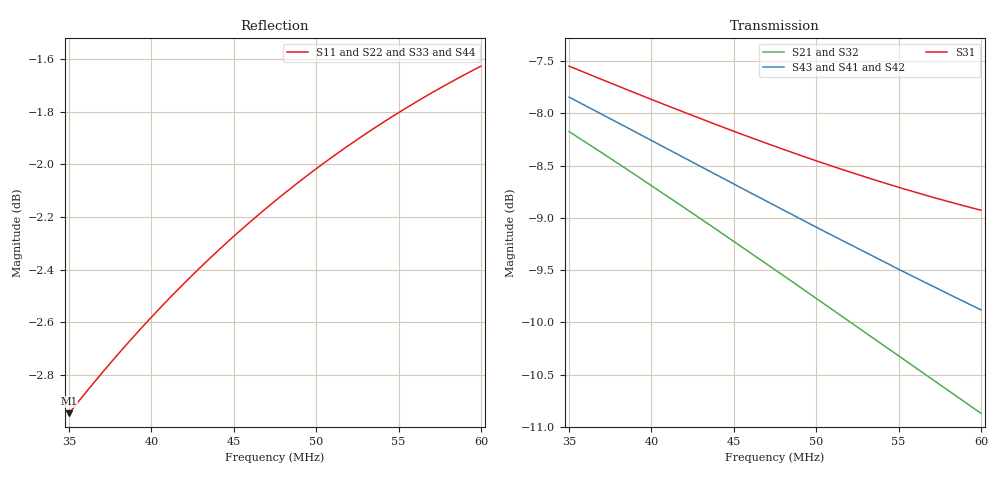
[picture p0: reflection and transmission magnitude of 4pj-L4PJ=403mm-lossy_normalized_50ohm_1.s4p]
! TOUCHSTONE file generated by CST MICROWAVE STUDIO
! Date and time: Mon Jan 20 14:13:50 2020
! Project name: 4pj-L4PJ=403mm-lossy.cst
! Parameters = {rblend_outter_port=40; H_4PJ=915; H_VCW=515; H_septa=30; L_4PJ=355.63; L_4PJ_MV=405.26; L_4PJ_port=317.5; L_fdr=200; L_front_gap=32.13; L_rear_gap=17.5; R_4PJ=117.5; R_body=25; W_4PJ=315; W_VCW=315; W_gap=25; rblend_outer1=15; xH_fdr_outer=285; xR_VCW_inner=132.5; xR_fdr_inner=125; x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
! Header version: 2018
! Port assignment regex: !\s*Touchstone port\s*([0-9]+)\s*=\s*(CST MWS port|CST DS port)\s*([0-9]+|Zmin|Zmax)\s*\(\"(.*)\"\)(\s*mode\s*([0-9]+))?.*
! Touchstone port assignment:
! Touchstone port 1 = CST MWS port 1 ("")
! Touchstone port 2 = CST MWS port 2 ("")
! Touchstone port 3 = CST MWS port 3 ("")
! Touchstone port 4 = CST MWS port 4 ("")
# MHz S MA R 50
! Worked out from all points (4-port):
!   1001 points, 35 MHz to 60 MHz, reference 50 ohm
!   strongest paths, dB at 35 MHz, 41.25 MHz, 47.5 MHz, 53.75 MHz, 60 MHz:
!     S31: -7.5, -7.9, -8.3, -8.6, -8.9
!     S43: -7.8, -8.4, -8.9, -9.4, -9.9
!     S41: -7.8, -8.4, -8.9, -9.4, -9.9
!     S42: -7.9, -8.5, -9.0, -9.5, -10.1
!     S21: -8.2, -8.8, -9.5, -10.2, -10.9
!     S32: -8.2, -8.8, -9.5, -10.2, -10.9
!   lowest |S11| = -2.9 dB at 35 MHz (marker M1), VSWR 5.96, Z = 8.52 - j5.96 ohm
!   |S11| at or under -10 dB: nowhere
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35  0.7125 -166.0  0.3902 -39.4  0.4194 -44.0  0.4053 -41.1
    0.3902 -39.4  0.7306 -163.6  0.3902 -39.4  0.4022 -41.3
    0.4194 -44.0  0.3902 -39.4  0.7125 -166.0  0.4053 -41.1
    0.4053 -41.1  0.4022 -41.3  0.4053 -41.1  0.7139 -164.9
37.7  0.7295 -166.6  0.3779 -41.6  0.4111 -46.7  0.395 -43.4
      0.3779 -41.6  0.749 -164.0  0.3779 -41.6  0.3916 -43.7
      0.4111 -46.7  0.3779 -41.6  0.7295 -166.6  0.395 -43.4
      0.395 -43.4  0.3916 -43.7  0.395 -43.4  0.7312 -165.3
40.525  0.746 -167.2  0.3653 -43.9  0.4027 -49.3  0.3844 -45.8
        0.3653 -43.9  0.767 -164.6  0.3653 -43.9  0.3806 -46.1
        0.4027 -49.3  0.3653 -43.9  0.746 -167.2  0.3844 -45.8
        0.3844 -45.8  0.3806 -46.1  0.3844 -45.8  0.748 -165.9
46.125  0.7752 -168.6  0.3409 -47.9  0.3874 -54.2  0.3643 -50.1
        0.3409 -47.9  0.7989 -165.8  0.3409 -47.9  0.3596 -50.4
        0.3874 -54.2  0.3409 -47.9  0.7752 -168.6  0.3643 -50.1
        0.3643 -50.1  0.3596 -50.4  0.3643 -50.1  0.778 -167.1
53.05  0.8051 -170.7  0.3124 -52.3  0.371 -59.7  0.3413 -54.9
       0.3124 -52.3  0.832 -167.4  0.3124 -52.3  0.3354 -55.3
       0.371 -59.7  0.3124 -52.3  0.8051 -170.7  0.3413 -54.9
       0.3413 -54.9  0.3354 -55.3  0.3413 -54.9  0.809 -168.7
56.625  0.8181 -171.7  0.2986 -54.4  0.3638 -62.3  0.3304 -57.2
        0.2986 -54.4  0.8467 -168.3  0.2986 -54.4  0.3238 -57.6
        0.3638 -62.3  0.2986 -54.4  0.8181 -171.7  0.3304 -57.2
        0.3304 -57.2  0.3238 -57.6  0.3304 -57.2  0.8227 -169.6
60  0.8291 -172.8  0.286 -56.2  0.3578 -64.7  0.3206 -59.2
    0.286 -56.2  0.8591 -169.1  0.286 -56.2  0.3134 -59.6
    0.3578 -64.7  0.286 -56.2  0.8291 -172.8  0.3206 -59.2
    0.3206 -59.2  0.3134 -59.6  0.3206 -59.2  0.8344 -170.5
